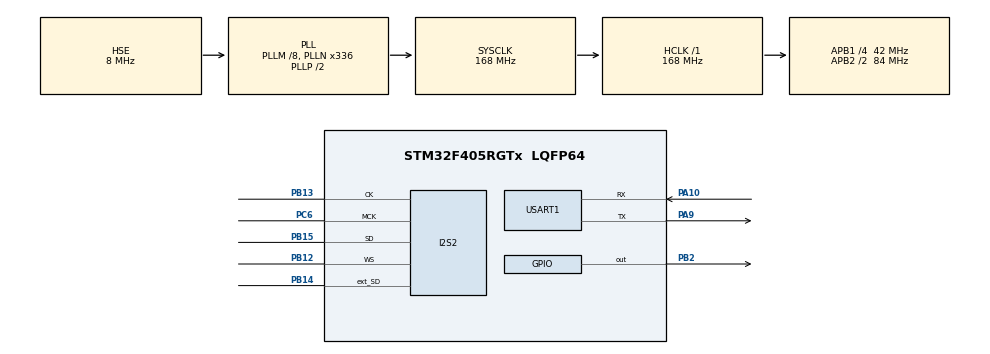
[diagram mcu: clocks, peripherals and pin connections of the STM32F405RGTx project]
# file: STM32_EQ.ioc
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Dma.I2S2_EXT_RX.0.Direction=DMA_PERIPH_TO_MEMORY
Dma.I2S2_EXT_RX.0.FIFOMode=DMA_FIFOMODE_DISABLE
Dma.I2S2_EXT_RX.0.Instance=DMA1_Stream3
Dma.I2S2_EXT_RX.0.MemDataAlignment=DMA_MDATAALIGN_HALFWORD
Dma.I2S2_EXT_RX.0.MemInc=DMA_MINC_ENABLE
Dma.I2S2_EXT_RX.0.Mode=DMA_CIRCULAR
Dma.I2S2_EXT_RX.0.PeriphDataAlignment=DMA_PDATAALIGN_HALFWORD
Dma.I2S2_EXT_RX.0.PeriphInc=DMA_PINC_DISABLE
Dma.I2S2_EXT_RX.0.Priority=DMA_PRIORITY_HIGH
Dma.Request0=I2S2_EXT_RX
Dma.Request1=SPI2_TX
Dma.SPI2_TX.1.Direction=DMA_MEMORY_TO_PERIPH
Dma.SPI2_TX.1.FIFOMode=DMA_FIFOMODE_DISABLE
Dma.SPI2_TX.1.Instance=DMA1_Stream4
Dma.SPI2_TX.1.MemDataAlignment=DMA_MDATAALIGN_HALFWORD
Dma.SPI2_TX.1.MemInc=DMA_MINC_ENABLE
Dma.SPI2_TX.1.Mode=DMA_CIRCULAR
Dma.SPI2_TX.1.PeriphDataAlignment=DMA_PDATAALIGN_HALFWORD
Dma.SPI2_TX.1.PeriphInc=DMA_PINC_DISABLE
Dma.SPI2_TX.1.Priority=DMA_PRIORITY_HIGH
I2S2.AudioFreq=I2S_AUDIOFREQ_96K
I2S2.DataFormat=I2S_DATAFORMAT_24B
I2S2.ErrorAudioFreq=-2.34 %
I2S2.FullDuplexMode=I2S_FULLDUPLEXMODE_ENABLE
I2S2.Instance=SPI$Index
I2S2.RealAudioFreq=93.75 KHz
I2S2.VirtualMode=I2S_MODE_MASTER
Mcu.Family=STM32F4
Mcu.Name=STM32F405RGTx
Mcu.Package=LQFP64
NVIC.DMA1_Stream3_IRQn=true\:0\:0\:false\:false\:true\:false\:true\:true
NVIC.DMA1_Stream4_IRQn=true\:0\:0\:false\:false\:true\:false\:true\:true
NVIC.PriorityGroup=NVIC_PRIORITYGROUP_4
NVIC.USART1_IRQn=true\:0\:0\:false\:false\:true\:true\:true\:true
PA10.Mode=Asynchronous
PA10.Signal=USART1_RX
PA13.Mode=Serial_Wire
PA13.Signal=SYS_JTMS-SWDIO
PA14.Mode=Serial_Wire
PA14.Signal=SYS_JTCK-SWCLK
PA9.Mode=Asynchronous
PA9.Signal=USART1_TX
PB12.Mode=Full_Duplex_Master
PB12.Signal=I2S2_WS
PB13.Mode=Full_Duplex_Master
PB13.Signal=I2S2_CK
PB14.Mode=Full_Duplex_Master
PB14.Signal=I2S2_ext_SD
PB15.Mode=Full_Duplex_Master
PB15.Signal=I2S2_SD
PB2.Signal=GPIO_Output
PC6.Mode=Master_Clock_Activated
PC6.Signal=I2S2_MCK
PH0-OSC_IN.Mode=HSE-External-Oscillator
PH0-OSC_IN.Signal=RCC_OSC_IN
PH1-OSC_OUT.Mode=HSE-External-Oscillator
PH1-OSC_OUT.Signal=RCC_OSC_OUT
ProjectManager.HeapSize=0x200
ProjectManager.StackSize=0x400
ProjectManager.TargetToolchain=STM32CubeIDE
RCC.48MHZClocksFreq_Value=84000000
RCC.AHBFreq_Value=168000000
RCC.APB1CLKDivider=RCC_HCLK_DIV4
RCC.APB1Freq_Value=42000000
RCC.APB1TimFreq_Value=84000000
RCC.APB2CLKDivider=RCC_HCLK_DIV2
RCC.APB2Freq_Value=84000000
RCC.APB2TimFreq_Value=168000000
RCC.CortexFreq_Value=168000000
RCC.HCLKFreq_Value=168000000
RCC.HSE_VALUE=8000000
RCC.HSI_VALUE=16000000
RCC.LSE_VALUE=32768
RCC.PLLM=8
RCC.PLLN=336
RCC.PLLSourceVirtual=RCC_PLLSOURCE_HSE
RCC.SYSCLKFreq_VALUE=168000000
RCC.SYSCLKSource=RCC_SYSCLKSOURCE_PLLCLK
RCC.VCOOutputFreq_Value=336000000
USART1.VirtualMode=VM_ASYNC
board=custom

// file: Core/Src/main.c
/* USER CODE BEGIN Header */
/**
  ******************************************************************************
  * @file           : main.c
  * @brief          : Main program body
  ******************************************************************************
  * @attention
  *
  * Copyright (c) 2024 STMicroelectronics.
  * All rights reserved.
  *
  * This software is licensed under terms that can be found in the LICENSE file
  * in the root directory of this software component.
  * If no LICENSE file comes with this software, it is provided AS-IS.
  *
  ******************************************************************************
  */
/* USER CODE END Header */
#include "main.h"

/* USER CODE BEGIN Includes */

#include <string.h>
#include <stdio.h>
#include <stdlib.h>

/* USER CODE END Includes */

I2S_HandleTypeDef hi2s2;
DMA_HandleTypeDef hdma_i2s2_ext_rx;
DMA_HandleTypeDef hdma_spi2_tx;

UART_HandleTypeDef huart1;

/* USER CODE BEGIN PV */
// float l_a0, l_a1, l_a2, l_b1, l_b2, lin_z1, lin_z2, lout_z1, lout_z2;
// float r_a0, r_a1, r_a2, r_b1, r_b2, rin_z1, rin_z2, rout_z1, rout_z2;
// uint8_t tx_buffer[17] = "Serial Ready!\n\r";
// uint8_t rx_buffer[70];
uint16_t rxBuf[256];
uint16_t txBuf[256];

/* USER CODE END PV */

void SystemClock_Config(void);
static void MX_GPIO_Init(void);
static void MX_DMA_Init(void);
static void MX_I2S2_Init(void);
static void MX_USART1_UART_Init(void);
/* USER CODE BEGIN PFP */

// typedef struct {
//   float a0;
//   float a1;
//   float a2;
//   float b0;
//   float b1;
//   float b2;
// } FilterCoeffs;

// FilterCoeffs lowBandCoeffs;
// FilterCoeffs midBandCoeffs;
// FilterCoeffs highBandCoeffs;

// void parseAndStoreCoeffs(char *rx_buffer);

/* USER CODE END PFP */

/* USER CODE BEGIN 0 */

void HAL_I2S_RxHalfCpltCallback(I2S_HandleTypeDef *hi2s)
{
  inBufPtr = &adcData[0];
  outBufPtr = &dacData[0];
  dataReady = 1;
}

void HAL_I2S_TxCpltCallback(I2S_HandleTypeDef *hi2s)
{
  inBufPtr = &adcData[AUDIO_BUFFER_SIZE / 2];
  outBufPtr = &dacData[AUDIO_BUFFER_SIZE / 2];
  dataReady = 1;
}

void processData(){
  static float leftIn, leftOut, rightIn, rightOut;

  for (uint8_t n = 0; n < (AUDIO_BUFFER_SIZE / 2) - 1; n += 2){
    // Left channel
    // Convert ADC data to float
    leftIn = INT16_TO_FLOAT * inBufPtr[n];
    if (leftIn > 1.0f){
      leftIn = -2.0f;
    }
    // Compute the left channel output
    leftOut = peaking_filter_update(&lowfilt, leftIn);
    leftOut = peaking_filter_update(&midfilt, leftOut);
    leftOut = peaking_filter_update(&highfilt, leftOut);

    // Convert back to int16
    outBufPtr[n] = (int16_t)(FLOAT_TO_INT16 * leftOut);

    // Right channel
    // Convert ADC data to float
    rightIn = INT16_TO_FLOAT * inBufPtr[n + 1];
    if (rightIn > 1.0f){
      rightIn = -2.0f;
    }
    // Compute the right channel output
    rightOut = rightIn;
    // Convert back to int16
    outBufPtr[n + 1] = (int16_t)(FLOAT_TO_INT16 * rightOut);
  }
  dataReady = 0;
}

/* USER CODE END 0 */

int main(void)
{

  /* MCU Configuration--------------------------------------------------------*/

  /* Reset of all peripherals, Initializes the Flash interface and the Systick. */
  HAL_Init();

  /* Configure the system clock */
  SystemClock_Config();

  /* Initialize all configured peripherals */
  MX_GPIO_Init();
  MX_DMA_Init();
  MX_I2S2_Init();
  MX_USART1_UART_Init();
  /* USER CODE BEGIN 2 */

  // Start UART communication
  // HAL_UART_Transmit(&huart1, tx_buffer, sizeof(tx_buffer), 10); // Send ready message
  // HAL_UART_Receive_IT(&huart1, rx_buffer, sizeof(rx_buffer)); // Start UART receive

  // Set default filter coefficients
  // parseAndStoreCoeffs("Reset");

  HAL_I2SEx_TransmitReceive_DMA (&hi2s2, txBuf, rxBuf, 4);

  // //left-channel, High-Pass, 1kHz, fs=96kHz, q=0.7
  // l_a0 = 0.9543457485325094f;
  // l_a1 = -1.9086914970650188f;
  // l_a2 = 0.9543457485325094f;
  // l_b1 = -1.9066459797557103f;
  // l_b2 = 0.9107370143743273f;

  // //right-channel, Low-Pass, 1kHz, fs)96 kHz, q=0.7
  // r_a0 = 0.0010227586546542474f;
  // r_a1 = 0.002045517309308495f;
  // r_a2 = 0.0010227586546542474f;
  // r_b1 = -1.9066459797557103f;
  // r_b2 = 0.9107370143743273f;

  /* USER CODE END 2 */

  /* Infinite loop */
  while (1)
  {

    /* USER CODE BEGIN 3 */

    // Blink the LED while working
    HAL_GPIO_TogglePin(GPIOB, GPIO_PIN_2);
    HAL_Delay(1000);
  }
  /* USER CODE END 3 */
}

void SystemClock_Config(void)
{
  RCC_OscInitTypeDef RCC_OscInitStruct = {0};
  RCC_ClkInitTypeDef RCC_ClkInitStruct = {0};

  /** Configure the main internal regulator output voltage
  */
  __HAL_RCC_PWR_CLK_ENABLE();
  __HAL_PWR_VOLTAGESCALING_CONFIG(PWR_REGULATOR_VOLTAGE_SCALE1);

  /** Initializes the RCC Oscillators according to the specified parameters
  * in the RCC_OscInitTypeDef structure.
  */
  RCC_OscInitStruct.OscillatorType = RCC_OSCILLATORTYPE_HSE;
  RCC_OscInitStruct.HSEState = RCC_HSE_ON;
  RCC_OscInitStruct.PLL.PLLState = RCC_PLL_ON;
  RCC_OscInitStruct.PLL.PLLSource = RCC_PLLSOURCE_HSE;
  RCC_OscInitStruct.PLL.PLLM = 8;
  RCC_OscInitStruct.PLL.PLLN = 336;
  RCC_OscInitStruct.PLL.PLLP = RCC_PLLP_DIV2;
  RCC_OscInitStruct.PLL.PLLQ = 4;
  if (HAL_RCC_OscConfig(&RCC_OscInitStruct) != HAL_OK)
  {
    Error_Handler();
  }

  /** Initializes the CPU, AHB and APB buses clocks
  */
  RCC_ClkInitStruct.ClockType = RCC_CLOCKTYPE_HCLK|RCC_CLOCKTYPE_SYSCLK
                              |RCC_CLOCKTYPE_PCLK1|RCC_CLOCKTYPE_PCLK2;
  RCC_ClkInitStruct.SYSCLKSource = RCC_SYSCLKSOURCE_PLLCLK;
  RCC_ClkInitStruct.AHBCLKDivider = RCC_SYSCLK_DIV1;
  RCC_ClkInitStruct.APB1CLKDivider = RCC_HCLK_DIV4;
  RCC_ClkInitStruct.APB2CLKDivider = RCC_HCLK_DIV2;

  if (HAL_RCC_ClockConfig(&RCC_ClkInitStruct, FLASH_LATENCY_5) != HAL_OK)
  {
    Error_Handler();
  }
}

static void MX_I2S2_Init(void)
{

  hi2s2.Instance = SPI2;
  hi2s2.Init.Mode = I2S_MODE_MASTER_TX;
  hi2s2.Init.Standard = I2S_STANDARD_PHILIPS;
  hi2s2.Init.DataFormat = I2S_DATAFORMAT_24B;
  hi2s2.Init.MCLKOutput = I2S_MCLKOUTPUT_ENABLE;
  hi2s2.Init.AudioFreq = I2S_AUDIOFREQ_96K;
  hi2s2.Init.CPOL = I2S_CPOL_LOW;
  hi2s2.Init.ClockSource = I2S_CLOCK_PLL;
  hi2s2.Init.FullDuplexMode = I2S_FULLDUPLEXMODE_ENABLE;
  if (HAL_I2S_Init(&hi2s2) != HAL_OK)
  {
    Error_Handler();
  }

}

static void MX_USART1_UART_Init(void)
{

  huart1.Instance = USART1;
  huart1.Init.BaudRate = 115200;
  huart1.Init.WordLength = UART_WORDLENGTH_8B;
  huart1.Init.StopBits = UART_STOPBITS_1;
  huart1.Init.Parity = UART_PARITY_NONE;
  huart1.Init.Mode = UART_MODE_TX_RX;
  huart1.Init.HwFlowCtl = UART_HWCONTROL_NONE;
  huart1.Init.OverSampling = UART_OVERSAMPLING_16;
  if (HAL_UART_Init(&huart1) != HAL_OK)
  {
    Error_Handler();
  }

}

static void MX_DMA_Init(void)
{

  /* DMA controller clock enable */
  __HAL_RCC_DMA1_CLK_ENABLE();

  /* DMA interrupt init */
  /* DMA1_Stream3_IRQn interrupt configuration */
  HAL_NVIC_SetPriority(DMA1_Stream3_IRQn, 0, 0);
  HAL_NVIC_EnableIRQ(DMA1_Stream3_IRQn);
  /* DMA1_Stream4_IRQn interrupt configuration */
  HAL_NVIC_SetPriority(DMA1_Stream4_IRQn, 0, 0);
  HAL_NVIC_EnableIRQ(DMA1_Stream4_IRQn);

}

static void MX_GPIO_Init(void)
{
  GPIO_InitTypeDef GPIO_InitStruct = {0};

  /* GPIO Ports Clock Enable */
  __HAL_RCC_GPIOH_CLK_ENABLE();
  __HAL_RCC_GPIOB_CLK_ENABLE();
  __HAL_RCC_GPIOC_CLK_ENABLE();
  __HAL_RCC_GPIOA_CLK_ENABLE();

  /*Configure GPIO pin Output Level */
  HAL_GPIO_WritePin(GPIOB, GPIO_PIN_2, GPIO_PIN_RESET);

  /*Configure GPIO pin : PB2 */
  GPIO_InitStruct.Pin = GPIO_PIN_2;
  GPIO_InitStruct.Mode = GPIO_MODE_OUTPUT_PP;
  GPIO_InitStruct.Pull = GPIO_NOPULL;
  GPIO_InitStruct.Speed = GPIO_SPEED_FREQ_LOW;
  HAL_GPIO_Init(GPIOB, &GPIO_InitStruct);

}

/* USER CODE BEGIN 4 */

int _write(int file, char *ptr, int len)
{
  (void)file;
  int DataIdx;

  for (DataIdx = 0; DataIdx < len; DataIdx++)
  {
	  ITM_SendChar(*ptr++);
  }
  return len;
}

// void HAL_UART_RxCpltCallback(UART_HandleTypeDef *huart)
// {
//   /* Prevent unused argument(s) compilation warning */
//   UNUSED(huart);
//   /* NOTE: This function should not be modified, when the callback is needed,
//            the HAL_UART_RxCpltCallback could be implemented in the user file
//    */
//   // HAL_UART_Transmit(&huart1, rx_buffer, sizeof(rx_buffer), 10); // Echo the received data
//   printf("Received UART: %s\n", rx_buffer); // Print the received data to serial

  // fix warning: pointer targets in passing argument 1 of 'parseAndStoreCoeffs' differ in signedness [-Wpointer-sign]
//   parseAndStoreCoeffs((char *)rx_buffer); // Parse the received data

//   memset(rx_buffer, 0, sizeof(rx_buffer)); // Clear the buffer
//   HAL_UART_Receive_IT(&huart1, rx_buffer, sizeof(rx_buffer)); // Start the next receive
// }

// void parseAndStoreCoeffs(char *rx_buffer) {
//     // Determine which band the coefficients are for
//     if (strncmp(rx_buffer, "Low", 3) == 0) {
//         sscanf(rx_buffer, "Low %f %f %f %f %f %f",
//                &lowBandCoeffs.a0, &lowBandCoeffs.a1, &lowBandCoeffs.a2,
//                &lowBandCoeffs.b0, &lowBandCoeffs.b1, &lowBandCoeffs.b2);
//         printf("Parsed Low: %f %f %f %f %f %f\n",
//                lowBandCoeffs.a0, lowBandCoeffs.a1, lowBandCoeffs.a2,
//                lowBandCoeffs.b0, lowBandCoeffs.b1, lowBandCoeffs.b2);
//     } else if (strncmp(rx_buffer, "Mid", 3) == 0) {
//         sscanf(rx_buffer, "Mid %f %f %f %f %f %f",
//                &midBandCoeffs.a0, &midBandCoeffs.a1, &midBandCoeffs.a2,
//                &midBandCoeffs.b0, &midBandCoeffs.b1, &midBandCoeffs.b2);
//         printf("Parsed Mid: %f %f %f %f %f %f\n",
//                 midBandCoeffs.a0, midBandCoeffs.a1, midBandCoeffs.a2,
//                 midBandCoeffs.b0, midBandCoeffs.b1, midBandCoeffs.b2);
//     } else if (strncmp(rx_buffer, "High", 4) == 0) {
//         sscanf(rx_buffer, "High %f %f %f %f %f %f",
//                &highBandCoeffs.a0, &highBandCoeffs.a1, &highBandCoeffs.a2,
//                &highBandCoeffs.b0, &highBandCoeffs.b1, &highBandCoeffs.b2);
//         printf("Parsed High: %f %f %f %f %f %f\n",
//                 highBandCoeffs.a0, highBandCoeffs.a1, highBandCoeffs.a2,
//                 highBandCoeffs.b0, highBandCoeffs.b1, highBandCoeffs.b2);
//     } else if (strncmp(rx_buffer, "Reset", 5) == 0) {
//         lowBandCoeffs.a0 = 1.001636;
//         lowBandCoeffs.a1 = -1.999989;
//         lowBandCoeffs.a2 = 0.998364;
//         lowBandCoeffs.b0 = 1.001636;
//         lowBandCoeffs.b1 = -1.999989;
//         lowBandCoeffs.b2 = 0.998364;
//         midBandCoeffs.a0 = 1.049009;
//         midBandCoeffs.a1 = -1.990369;
//         midBandCoeffs.a2 = 0.950991;
//         midBandCoeffs.b0 = 1.049009;
//         midBandCoeffs.b1 = -1.990369;
//         midBandCoeffs.b2 = 0.950991;
//         highBandCoeffs.a0 = 1.304381;
//         highBandCoeffs.a1 = -1.586707;
//         highBandCoeffs.a2 = 0.695619;
//         highBandCoeffs.b0 = 1.304381;
//         highBandCoeffs.b1 = -1.586707;
//         highBandCoeffs.b2 = 0.695619;
//         printf("Coefficients reset!\n");
//     } else {
//         printf("Invalid parameter\n");
//     }
// }

// int Calc_IIR_Left (int inSample) {
// 	float inSampleF = (float)inSample;
// 	float outSampleF =
// 			l_a0 * inSampleF
// 			+ l_a1 * lin_z1
// 			+ l_a2 * lin_z2
// 			- l_b1 * lout_z1
// 			- l_b2 * lout_z2;
// 	lin_z2 = lin_z1;
// 	lin_z1 = inSampleF;
// 	lout_z2 = lout_z1;
// 	lout_z1 = outSampleF;

// 	return (int) outSampleF;
// }

// int Calc_IIR_Right (int inSample) {
// 	float inSampleF = (float)inSample;
// 	float outSampleF =
// 			r_a0 * inSampleF
// 			+ r_a1 * rin_z1
// 			+ r_a2 * rin_z2
// 			- r_b1 * rout_z1
// 			- r_b2 * rout_z2;
// 	rin_z2 = rin_z1;
// 	rin_z1 = inSampleF;
// 	rout_z2 = rout_z1;
// 	rout_z1 = outSampleF;

// 	return (int) outSampleF;
// }

void HAL_I2S_RxHalfCpltCallback(I2S_HandleTypeDef *hi2s)
{
  //restore signed 24 bit sample from 16-bit buffers
	int lSample = (int) (rxBuf[0]<<16)|rxBuf[1];
	int rSample = (int) (rxBuf[2]<<16)|rxBuf[3];

	//run HP on left channel and LP on right channel
	// lSample = Calc_IIR_Left(lSample);
	// rSample = Calc_IIR_Left(rSample);

	//restore to buffer
	txBuf[0] = (lSample>>16)&0xFFFF;
	txBuf[1] = lSample&0xFFFF;
	txBuf[2] = (rSample>>16)&0xFFFF;
	txBuf[3] = rSample&0xFFFF;
}

void HAL_I2S_TxCpltCallback(I2S_HandleTypeDef *hi2s)
{
  //restore signed 24 bit sample from 16-bit buffers
	int lSample = (int) (rxBuf[4]<<16)|rxBuf[5];
	int rSample = (int) (rxBuf[6]<<16)|rxBuf[7];

	//run HP on left channel and LP on right channel
	// lSample = Calc_IIR_Left(lSample);
	// rSample = Calc_IIR_Left(rSample);

	//restore to buffer
	txBuf[4] = (lSample>>16)&0xFFFF;
	txBuf[5] = lSample&0xFFFF;
	txBuf[6] = (rSample>>16)&0xFFFF;
	txBuf[7] = rSample&0xFFFF;
}

/* USER CODE END 4 */

void Error_Handler(void)
{
  __disable_irq();
  while (1)
  {
  }
}
